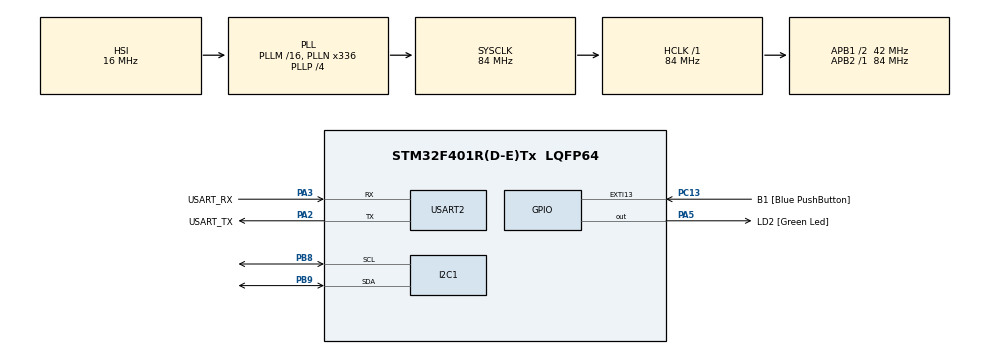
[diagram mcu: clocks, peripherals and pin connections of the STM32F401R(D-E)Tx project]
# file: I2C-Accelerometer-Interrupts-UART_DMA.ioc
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Dma.Request0=USART2_TX
Dma.USART2_TX.0.Direction=DMA_MEMORY_TO_PERIPH
Dma.USART2_TX.0.FIFOMode=DMA_FIFOMODE_DISABLE
Dma.USART2_TX.0.Instance=DMA1_Stream6
Dma.USART2_TX.0.MemDataAlignment=DMA_MDATAALIGN_BYTE
Dma.USART2_TX.0.MemInc=DMA_MINC_ENABLE
Dma.USART2_TX.0.Mode=DMA_NORMAL
Dma.USART2_TX.0.PeriphDataAlignment=DMA_PDATAALIGN_BYTE
Dma.USART2_TX.0.PeriphInc=DMA_PINC_DISABLE
Dma.USART2_TX.0.Priority=DMA_PRIORITY_HIGH
Mcu.Family=STM32F4
Mcu.Name=STM32F401R(D-E)Tx
Mcu.Package=LQFP64
NVIC.DMA1_Stream6_IRQn=true\:0\:0\:false\:false\:true\:false\:true
NVIC.PriorityGroup=NVIC_PRIORITYGROUP_0
NVIC.TIM1_TRG_COM_TIM11_IRQn=true\:0\:0\:false\:false\:true\:true\:true
NVIC.USART2_IRQn=true\:0\:0\:false\:false\:true\:true\:true
PA13.GPIO_Label=TMS
PA13.Mode=Serial_Wire
PA13.Signal=SYS_JTMS-SWDIO
PA14.GPIO_Label=TCK
PA14.Mode=Serial_Wire
PA14.Signal=SYS_JTCK-SWCLK
PA2.GPIO_Label=USART_TX
PA2.GPIO_Mode=GPIO_MODE_AF_PP
PA2.GPIO_PuPd=GPIO_NOPULL
PA2.GPIO_Speed=GPIO_SPEED_FREQ_LOW
PA2.Mode=Asynchronous
PA2.Signal=USART2_TX
PA3.GPIO_Label=USART_RX
PA3.GPIO_Mode=GPIO_MODE_AF_PP
PA3.GPIO_PuPd=GPIO_NOPULL
PA3.GPIO_Speed=GPIO_SPEED_FREQ_LOW
PA3.Mode=Asynchronous
PA3.Signal=USART2_RX
PA5.GPIO_Label=LD2 [Green Led]
PA5.GPIO_Mode=GPIO_MODE_OUTPUT_PP
PA5.GPIO_PuPd=GPIO_NOPULL
PA5.GPIO_Speed=GPIO_SPEED_FREQ_LOW
PA5.Signal=GPIO_Output
PB3.GPIO_Label=SWO
PB3.Signal=SYS_JTDO-SWO
PB8.Mode=I2C
PB8.Signal=I2C1_SCL
PB9.Mode=I2C
PB9.Signal=I2C1_SDA
PC13-ANTI_TAMP.GPIO_Label=B1 [Blue PushButton]
PC13-ANTI_TAMP.GPIO_ModeDefaultEXTI=GPIO_MODE_IT_FALLING
PC13-ANTI_TAMP.GPIO_PuPd=GPIO_NOPULL
PC13-ANTI_TAMP.Signal=GPXTI13
PC14-OSC32_IN.Mode=LSE-External-Oscillator
PC14-OSC32_IN.Signal=RCC_OSC32_IN
PC15-OSC32_OUT.Mode=LSE-External-Oscillator
PC15-OSC32_OUT.Signal=RCC_OSC32_OUT
PH0\ -\ OSC_IN.Mode=HSE-External-Clock-Source
PH0\ -\ OSC_IN.Signal=RCC_OSC_IN
PH1\ -\ OSC_OUT.Mode=HSE-External-Clock-Source
PH1\ -\ OSC_OUT.Signal=RCC_OSC_OUT
ProjectManager.HeapSize=0x200
ProjectManager.StackSize=0x400
ProjectManager.TargetToolchain=STM32CubeIDE
RCC.48MHZClocksFreq_Value=48000000
RCC.AHBFreq_Value=84000000
RCC.APB1CLKDivider=RCC_HCLK_DIV2
RCC.APB1Freq_Value=42000000
RCC.APB1TimFreq_Value=84000000
RCC.APB2Freq_Value=84000000
RCC.APB2TimFreq_Value=84000000
RCC.CortexFreq_Value=84000000
RCC.HCLKFreq_Value=84000000
RCC.HSE_VALUE=8000000
RCC.HSI_VALUE=16000000
RCC.PLLN=336
RCC.PLLP=RCC_PLLP_DIV4
RCC.PLLQ=7
RCC.SYSCLKFreq_VALUE=84000000
RCC.SYSCLKSource=RCC_SYSCLKSOURCE_PLLCLK
RCC.VCOOutputFreq_Value=336000000
TIM11.Period=42000
TIM11.Prescaler=2000
USART2.VirtualMode=VM_ASYNC
VP_TIM11_VS_ClockSourceINT.Mode=Enable_Timer
board=NUCLEO-F401RE

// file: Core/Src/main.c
/* USER CODE BEGIN Header */
/**
 ******************************************************************************
 * @file           : main.c
 * @brief          : Main program body
 ******************************************************************************
 * @attention
 *
 * <h2><center>&copy; Copyright (c) 2021 STMicroelectronics.
 * All rights reserved.</center></h2>
 *
 * This software component is licensed by ST under BSD 3-Clause license,
 * the "License"; You may not use this file except in compliance with the
 * License. You may obtain a copy of the License at:
 *                        opensource.org/licenses/BSD-3-Clause
 *
 ******************************************************************************
 */
/* USER CODE END Header */
#include "main.h"

/* USER CODE BEGIN PTD */
/**
 * @brief enumeration that contains the association between register and their address
 */
typedef enum {
	WHO_AM_I = 0x0F,
	TEMP_CFG_REG = 0x1F,
	CTRL_REG1 = 0x20,
	CTRL_REG4 = 0x23,
	OUT_X = 0x29,
	OUT_Y = 0x2B,
	OUT_Z = 0x2D,
	OUT_TEMP_L = 0x0C,
	OUT_TEMP_H = 0x0D
} Reg;

/**
 * @brief data structure that contains a sample from the accelerometer
 */
typedef struct {
	float acc_x;
	float acc_y;
	float acc_z;
	float acc_t;
} AccelData;
/* USER CODE END PTD */

/* USER CODE BEGIN PD */
#define accel_addr (0b0101000<<1) 	// address of the LIS2DE (shift by one for the R/W bit)
#define SELF_TEST_MIN_CHANGE 50		// minimum change of the acceleration
#define SELF_TEST_MAX_CHANGE 1800	// maximum change of the acceleration
/* USER CODE END PD */

I2C_HandleTypeDef hi2c1;

TIM_HandleTypeDef htim11;

UART_HandleTypeDef huart2;
DMA_HandleTypeDef hdma_usart2_tx;

/* USER CODE BEGIN PV */
AccelData accelData; 	// structure that contains the last sample
uint8_t data;			// variable that contains the data to send or to receive
char str[64];			// string that contains the message to send over UART
/* USER CODE END PV */

void SystemClock_Config(void);
static void MX_GPIO_Init(void);
static void MX_USART2_UART_Init(void);
static void MX_DMA_Init(void);
static void MX_I2C1_Init(void);
static void MX_TIM11_Init(void);
/* USER CODE BEGIN PFP */
HAL_StatusTypeDef init();
HAL_StatusTypeDef sample(AccelData *accelData);
HAL_StatusTypeDef writeReg(Reg regAddress, int8_t data);
HAL_StatusTypeDef readReg(Reg regAddress, uint8_t *data, int nData);
float convertToFloat(int8_t msb, uint8_t lsb);
float convertToAcc(int8_t data);
void printSampleDMA(AccelData accelData);
/* USER CODE END PFP */

int main(void) {

	/* MCU Configuration--------------------------------------------------------*/

	/* Reset of all peripherals, Initializes the Flash interface and the Systick. */
	HAL_Init();

	/* Configure the system clock */
	SystemClock_Config();

	/* USER CODE BEGIN SysInit */
	MX_DMA_Init(); // in order to fix a bug in HAL library
	/* USER CODE END SysInit */

	/* Initialize all configured peripherals */
	MX_GPIO_Init();
	MX_USART2_UART_Init();
	MX_DMA_Init();
	MX_I2C1_Init();
	MX_TIM11_Init();
	/* USER CODE BEGIN 2 */
	// initializing the sensor and, if succeeded, initialize timer
	if (init() == HAL_OK) {
		strcpy(str, "Accelerometer initialized!\r\n");
		HAL_UART_Transmit_DMA(&huart2, str, strlen(str));

		// initializing timer
		HAL_TIM_Base_Start_IT(&htim11);
	} else {
		strcpy(str, "Failed to initialize accelerometer!\r\n");
		HAL_UART_Transmit_DMA(&huart2, str, strlen(str));
	}
	/* USER CODE END 2 */

	/* Infinite loop */
	while (1) {

	}
}

void SystemClock_Config(void) {
	RCC_OscInitTypeDef RCC_OscInitStruct = { 0 };
	RCC_ClkInitTypeDef RCC_ClkInitStruct = { 0 };

	/** Configure the main internal regulator output voltage
	 */
	__HAL_RCC_PWR_CLK_ENABLE();
	__HAL_PWR_VOLTAGESCALING_CONFIG(PWR_REGULATOR_VOLTAGE_SCALE2);
	/** Initializes the RCC Oscillators according to the specified parameters
	 * in the RCC_OscInitTypeDef structure.
	 */
	RCC_OscInitStruct.OscillatorType = RCC_OSCILLATORTYPE_HSI;
	RCC_OscInitStruct.HSIState = RCC_HSI_ON;
	RCC_OscInitStruct.HSICalibrationValue = RCC_HSICALIBRATION_DEFAULT;
	RCC_OscInitStruct.PLL.PLLState = RCC_PLL_ON;
	RCC_OscInitStruct.PLL.PLLSource = RCC_PLLSOURCE_HSI;
	RCC_OscInitStruct.PLL.PLLM = 16;
	RCC_OscInitStruct.PLL.PLLN = 336;
	RCC_OscInitStruct.PLL.PLLP = RCC_PLLP_DIV4;
	RCC_OscInitStruct.PLL.PLLQ = 7;
	if (HAL_RCC_OscConfig(&RCC_OscInitStruct) != HAL_OK) {
		Error_Handler();
	}
	/** Initializes the CPU, AHB and APB buses clocks
	 */
	RCC_ClkInitStruct.ClockType = RCC_CLOCKTYPE_HCLK | RCC_CLOCKTYPE_SYSCLK
			| RCC_CLOCKTYPE_PCLK1 | RCC_CLOCKTYPE_PCLK2;
	RCC_ClkInitStruct.SYSCLKSource = RCC_SYSCLKSOURCE_PLLCLK;
	RCC_ClkInitStruct.AHBCLKDivider = RCC_SYSCLK_DIV1;
	RCC_ClkInitStruct.APB1CLKDivider = RCC_HCLK_DIV2;
	RCC_ClkInitStruct.APB2CLKDivider = RCC_HCLK_DIV1;

	if (HAL_RCC_ClockConfig(&RCC_ClkInitStruct, FLASH_LATENCY_2) != HAL_OK) {
		Error_Handler();
	}
}

static void MX_I2C1_Init(void) {

	hi2c1.Instance = I2C1;
	hi2c1.Init.ClockSpeed = 100000;
	hi2c1.Init.DutyCycle = I2C_DUTYCYCLE_2;
	hi2c1.Init.OwnAddress1 = 0;
	hi2c1.Init.AddressingMode = I2C_ADDRESSINGMODE_7BIT;
	hi2c1.Init.DualAddressMode = I2C_DUALADDRESS_DISABLE;
	hi2c1.Init.OwnAddress2 = 0;
	hi2c1.Init.GeneralCallMode = I2C_GENERALCALL_DISABLE;
	hi2c1.Init.NoStretchMode = I2C_NOSTRETCH_DISABLE;
	if (HAL_I2C_Init(&hi2c1) != HAL_OK) {
		Error_Handler();
	}

}

static void MX_TIM11_Init(void) {

	htim11.Instance = TIM11;
	htim11.Init.Prescaler = 2000;
	htim11.Init.CounterMode = TIM_COUNTERMODE_UP;
	htim11.Init.Period = 42000;
	htim11.Init.ClockDivision = TIM_CLOCKDIVISION_DIV1;
	htim11.Init.AutoReloadPreload = TIM_AUTORELOAD_PRELOAD_DISABLE;
	if (HAL_TIM_Base_Init(&htim11) != HAL_OK) {
		Error_Handler();
	}

}

static void MX_USART2_UART_Init(void) {

	huart2.Instance = USART2;
	huart2.Init.BaudRate = 115200;
	huart2.Init.WordLength = UART_WORDLENGTH_8B;
	huart2.Init.StopBits = UART_STOPBITS_1;
	huart2.Init.Parity = UART_PARITY_NONE;
	huart2.Init.Mode = UART_MODE_TX_RX;
	huart2.Init.HwFlowCtl = UART_HWCONTROL_NONE;
	huart2.Init.OverSampling = UART_OVERSAMPLING_16;
	if (HAL_UART_Init(&huart2) != HAL_OK) {
		Error_Handler();
	}

}

static void MX_DMA_Init(void) {

	/* DMA controller clock enable */
	__HAL_RCC_DMA1_CLK_ENABLE();

	/* DMA interrupt init */
	/* DMA1_Stream6_IRQn interrupt configuration */
	HAL_NVIC_SetPriority(DMA1_Stream6_IRQn, 0, 0);
	HAL_NVIC_EnableIRQ(DMA1_Stream6_IRQn);

}

static void MX_GPIO_Init(void) {
	GPIO_InitTypeDef GPIO_InitStruct = { 0 };

	/* GPIO Ports Clock Enable */
	__HAL_RCC_GPIOC_CLK_ENABLE();
	__HAL_RCC_GPIOH_CLK_ENABLE();
	__HAL_RCC_GPIOA_CLK_ENABLE();
	__HAL_RCC_GPIOB_CLK_ENABLE();

	/*Configure GPIO pin Output Level */
	HAL_GPIO_WritePin(LD2_GPIO_Port, LD2_Pin, GPIO_PIN_RESET);

	/*Configure GPIO pin : B1_Pin */
	GPIO_InitStruct.Pin = B1_Pin;
	GPIO_InitStruct.Mode = GPIO_MODE_IT_FALLING;
	GPIO_InitStruct.Pull = GPIO_NOPULL;
	HAL_GPIO_Init(B1_GPIO_Port, &GPIO_InitStruct);

	/*Configure GPIO pin : LD2_Pin */
	GPIO_InitStruct.Pin = LD2_Pin;
	GPIO_InitStruct.Mode = GPIO_MODE_OUTPUT_PP;
	GPIO_InitStruct.Pull = GPIO_NOPULL;
	GPIO_InitStruct.Speed = GPIO_SPEED_FREQ_LOW;
	HAL_GPIO_Init(LD2_GPIO_Port, &GPIO_InitStruct);

}

/* USER CODE BEGIN 4 */
/**
 * @brief overriding the function in order to sample and send data with DMA
 * every period elapsed
 */
void HAL_TIM_PeriodElapsedCallback(TIM_HandleTypeDef *htim) {
	if (htim == &htim11) {
		sample(&accelData);
		printSampleDMA(accelData);
	}
}

/**
 * @brief initializes the accelerometer
 * @return HAL_OK if the sensor has been configured, HAL_ERROR otherwise
 */
HAL_StatusTypeDef init() {
	// enabling normal mode (1Hz) and enabling X,Y,Z outputs
	if (writeReg(CTRL_REG1, 0b00010111) != HAL_OK) {
		return HAL_ERROR;
	}

	// setting the +/- 2g FSR, Self Test disabled
	if (writeReg(CTRL_REG4, 0b00000000) != HAL_OK) {
		return HAL_ERROR;
	}

	// enabling the temperature sensor
	if (writeReg(TEMP_CFG_REG, 0b11000000) != HAL_OK) {
		return HAL_ERROR;
	}

	// reading the who_am_i register to check if it's the correct sensor
	if (readReg(WHO_AM_I, &data, 1) == HAL_OK && data == 0b00110011) {
		return HAL_OK;
	} else {
		return HAL_ERROR;
	}
}

/**
 * @brief converts a byte into the acceleration in g
 * @param data the byte read from the accelerometer
 * @return the float signed value of the acceleration in g
 */
float convertToAcc(int8_t data) {
	// multiplying the read data by the FSR and dividing by 2^bytes=256
	return (float) data * 4 / 256.0;
}

/**
 * @brief converts two bytes in a float value
 * @param msb the most significant byte of the temperature
 * @param lsb the least significant byte of the temperature
 * @return the float signed value of the acceleration in g
 */
float convertToFloat(int8_t msb, uint8_t lsb) {
	// "concatenates" the two bytes and then divides them by 2^(decimal places), that is 256
	// incremented by 25 (doubt on incrementing it by 22.5) because seems the offset used
	return ((float) (((int16_t) (msb) << 8) | lsb)) / 256.0 + 22.5;
}

/**
 * @brief writes in the register passed the data
 * @param regAddress the address on which we want to write
 * @param data the byte that will be written in the register
 * @return HAL_OK if sensor acknowledged, HAL_ERROR otherwise
 */
HAL_StatusTypeDef writeReg(Reg regAddress, int8_t data) {
	uint8_t datar[2] = { regAddress, data };
	return HAL_I2C_Master_Transmit(&hi2c1, accel_addr, datar, 2, 1000);
}

/**
 * @brief writes in the register passed the data
 * @param regAddress the address on which we want to read
 * @param data the pointer to the array of bytes into we will store the read data
 * @return HAL_OK if sensor acknowledged, HAL_ERROR otherwise
 */
HAL_StatusTypeDef readReg(Reg regAddress, uint8_t *data, int nData) {
	HAL_StatusTypeDef ret = HAL_I2C_Master_Transmit(&hi2c1, accel_addr,
			&regAddress, 1, 1000);
	if (ret == HAL_OK) {
		return HAL_I2C_Master_Receive(&hi2c1, accel_addr | 0b1, data, nData,
				1000);
	} else {
		return ret;
	}
}

/**
 * @brief samples the accelerometer
 * @param accelData the structure to update
 * @return HAL_OK if new data has been sampled, HAL_ERROR otherwise
 */
HAL_StatusTypeDef sample(AccelData *accelData) {
	AccelData tempData;
	uint8_t data, data2;

	// sampling X value
	if (readReg(OUT_X, &data, 1) == HAL_OK) {
		tempData.acc_x = convertToAcc(data);
	} else {
		return HAL_ERROR;
	}

	// sampling Y value
	if (readReg(OUT_Y, &data, 1) == HAL_OK) {
		tempData.acc_y = convertToAcc(data);
	} else {
		return HAL_ERROR;
	}

	// sampling Z value
	if (readReg(OUT_Z, &data, 1) == HAL_OK) {
		tempData.acc_z = convertToAcc(data);
	} else {
		return HAL_ERROR;
	}

	// sampling TEMP value
	writeReg(CTRL_REG4, 0b10000000); // enabling bit to retrieve temperature
	if (readReg(OUT_TEMP_H, &data, 1) == HAL_OK) {
		if (readReg(OUT_TEMP_L, &data2, 1) == HAL_OK) {
			tempData.acc_t = convertToFloat(data, data2);
		} else {
			return HAL_ERROR;
		}
	} else {
		return HAL_ERROR;
	}
	writeReg(CTRL_REG4, 0b00000000); // disabling bit to retrieve acceleration

	memcpy(accelData, &tempData, sizeof(AccelData));
	return HAL_OK;
}

/**
 * @brief prints over the serial communication the sample passed
 * @param accelData the structure to print
 */
void printSampleDMA(AccelData accelData) {
	char str[64];
	int len = sprintf(str,
			"Non Blocking\r\nX: %+.3f\r\nY: %+.3f\r\nZ: %+.3f\r\n\n",
			accelData.acc_x, accelData.acc_y, accelData.acc_z);
	HAL_UART_Transmit_DMA(&huart2, str, len);
}
/* USER CODE END 4 */

void Error_Handler(void) {
	__disable_irq();
	while (1) {
	}
}

/************************ (C) COPYRIGHT STMicroelectronics *****END OF FILE****/
